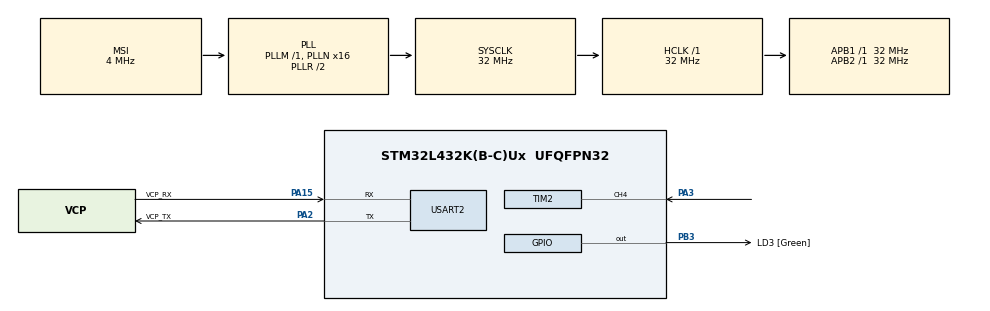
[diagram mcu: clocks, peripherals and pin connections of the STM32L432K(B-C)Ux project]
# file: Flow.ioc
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Mcu.Family=STM32L4
Mcu.Name=STM32L432K(B-C)Ux
Mcu.Package=UFQFPN32
NVIC.PriorityGroup=NVIC_PRIORITYGROUP_4
NVIC.TIM2_IRQn=true\:0\:0\:false\:false\:true\:true\:true\:true
PA13\ (JTMS-SWDIO).GPIO_Label=SWDIO
PA13\ (JTMS-SWDIO).Mode=Serial_Wire
PA13\ (JTMS-SWDIO).Signal=SYS_JTMS-SWDIO
PA14\ (JTCK-SWCLK).GPIO_Label=SWCLK
PA14\ (JTCK-SWCLK).Mode=Serial_Wire
PA14\ (JTCK-SWCLK).Signal=SYS_JTCK-SWCLK
PA15\ (JTDI).GPIO_Label=VCP_RX
PA15\ (JTDI).Mode=Asynchronous
PA15\ (JTDI).Signal=USART2_RX
PA2.GPIO_Label=VCP_TX
PA2.Mode=Asynchronous
PA2.Signal=USART2_TX
PA3.Signal=S_TIM2_CH4
PB3\ (JTDO-TRACESWO).GPIO_Label=LD3 [Green]
PB3\ (JTDO-TRACESWO).Signal=GPIO_Output
PC14-OSC32_IN\ (PC14).Mode=LSE-External-Oscillator
PC14-OSC32_IN\ (PC14).Signal=RCC_OSC32_IN
PC15-OSC32_OUT\ (PC15).Mode=LSE-External-Oscillator
PC15-OSC32_OUT\ (PC15).Signal=RCC_OSC32_OUT
ProjectManager.HeapSize=0x200
ProjectManager.StackSize=0x400
ProjectManager.TargetToolchain=STM32CubeIDE
RCC.AHBFreq_Value=32000000
RCC.APB1Freq_Value=32000000
RCC.APB1TimFreq_Value=32000000
RCC.APB2Freq_Value=32000000
RCC.APB2TimFreq_Value=32000000
RCC.CortexFreq_Value=32000000
RCC.HCLKFreq_Value=32000000
RCC.HSE_VALUE=8000000
RCC.HSI16_VALUE=16000000
RCC.HSI48_VALUE=48000000
RCC.HSI_VALUE=16000000
RCC.MSI_VALUE=4000000
RCC.PLLMUL=RCC_PLLMUL_4
RCC.PLLN=16
RCC.SYSCLKFreq_VALUE=32000000
RCC.SYSCLKSource=RCC_SYSCLKSOURCE_PLLCLK
RCC.VCOOutputFreq_Value=64000000
SH.S_TIM2_CH4.0=TIM2_CH4,Input_Capture4_from_TI4
TIM2.Channel-Input_Capture4_from_TI4=TIM_CHANNEL_4
TIM2.Prescaler=79
USART2.VirtualMode-Asynchronous=VM_ASYNC
VP_TIM2_VS_ClockSourceINT.Mode=Internal
board=NUCLEO-L432KC

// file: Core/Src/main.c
/* USER CODE BEGIN Header */

/**

 ******************************************************************************

 * @file : main.c

 * @brief : Main program body

 ******************************************************************************

 * @attention

 *

 * Copyright (c) 2026 STMicroelectronics.

 * All rights reserved.

 *

 * This software is licensed under terms that can be found in the LICENSE file

 * in the root directory of this software component.

 * If no LICENSE file comes with this software, it is provided AS-IS.

 *

 ******************************************************************************

 */

/* USER CODE END Header */
#include "main.h"

/* USER CODE BEGIN Includes */
#include <stdio.h>
#include "string.h"

/* USER CODE END Includes */

TIM_HandleTypeDef htim2;

UART_HandleTypeDef huart2;

/* USER CODE BEGIN PV */

volatile uint32_t pulse_count = 0;

uint32_t last_time = 0;

double flow_buffer[10] = {0};

uint8_t flow_index = 0;

uint8_t buffer_filled = 0;

uint8_t startup_msg_sent = 0;

/* USER CODE END PV */

void SystemClock_Config(void);
static void MX_GPIO_Init(void);
static void MX_USART2_UART_Init(void);
static void MX_TIM2_Init(void);
/* USER CODE BEGIN PFP */
void flow_sensor(uint32_t second_pulses);
/* USER CODE END PFP */

int main(void)
{

  /* MCU Configuration--------------------------------------------------------*/

  /* Reset of all peripherals, Initializes the Flash interface and the Systick. */
  HAL_Init();

  /* Configure the system clock */
  SystemClock_Config();

  /* Initialize all configured peripherals */
  MX_GPIO_Init();
  MX_USART2_UART_Init();
  MX_TIM2_Init();
  /* USER CODE BEGIN 2 */

 HAL_TIM_IC_Start_IT(&htim2, TIM_CHANNEL_4);

  /* USER CODE END 2 */

  /* Infinite loop */
  /* USER CODE BEGIN WHILE */

 while (1)
 {
	 uint32_t current_time = HAL_GetTick();

	     if (current_time - last_time >= 500)
	     {
	         last_time = current_time;

	         uint32_t second_pulses = pulse_count;
	         pulse_count = 0;

	         flow_sensor(second_pulses);
	     }
 }

    /* USER CODE END WHILE */

}

void SystemClock_Config(void)
{
  RCC_OscInitTypeDef RCC_OscInitStruct = {0};
  RCC_ClkInitTypeDef RCC_ClkInitStruct = {0};

  /** Configure the main internal regulator output voltage
  */
  if (HAL_PWREx_ControlVoltageScaling(PWR_REGULATOR_VOLTAGE_SCALE1) != HAL_OK)
  {
    Error_Handler();
  }

  /** Configure LSE Drive Capability
  */
  HAL_PWR_EnableBkUpAccess();
  __HAL_RCC_LSEDRIVE_CONFIG(RCC_LSEDRIVE_LOW);

  /** Initializes the RCC Oscillators according to the specified parameters
  * in the RCC_OscInitTypeDef structure.
  */
  RCC_OscInitStruct.OscillatorType = RCC_OSCILLATORTYPE_LSE|RCC_OSCILLATORTYPE_MSI;
  RCC_OscInitStruct.LSEState = RCC_LSE_ON;
  RCC_OscInitStruct.MSIState = RCC_MSI_ON;
  RCC_OscInitStruct.MSICalibrationValue = 0;
  RCC_OscInitStruct.MSIClockRange = RCC_MSIRANGE_6;
  RCC_OscInitStruct.PLL.PLLState = RCC_PLL_ON;
  RCC_OscInitStruct.PLL.PLLSource = RCC_PLLSOURCE_MSI;
  RCC_OscInitStruct.PLL.PLLM = 1;
  RCC_OscInitStruct.PLL.PLLN = 16;
  RCC_OscInitStruct.PLL.PLLP = RCC_PLLP_DIV7;
  RCC_OscInitStruct.PLL.PLLQ = RCC_PLLQ_DIV2;
  RCC_OscInitStruct.PLL.PLLR = RCC_PLLR_DIV2;
  if (HAL_RCC_OscConfig(&RCC_OscInitStruct) != HAL_OK)
  {
    Error_Handler();
  }

  /** Initializes the CPU, AHB and APB buses clocks
  */
  RCC_ClkInitStruct.ClockType = RCC_CLOCKTYPE_HCLK|RCC_CLOCKTYPE_SYSCLK
                              |RCC_CLOCKTYPE_PCLK1|RCC_CLOCKTYPE_PCLK2;
  RCC_ClkInitStruct.SYSCLKSource = RCC_SYSCLKSOURCE_PLLCLK;
  RCC_ClkInitStruct.AHBCLKDivider = RCC_SYSCLK_DIV1;
  RCC_ClkInitStruct.APB1CLKDivider = RCC_HCLK_DIV1;
  RCC_ClkInitStruct.APB2CLKDivider = RCC_HCLK_DIV1;

  if (HAL_RCC_ClockConfig(&RCC_ClkInitStruct, FLASH_LATENCY_1) != HAL_OK)
  {
    Error_Handler();
  }

  /** Enable MSI Auto calibration
  */
  HAL_RCCEx_EnableMSIPLLMode();
}

static void MX_TIM2_Init(void)
{

  TIM_ClockConfigTypeDef sClockSourceConfig = {0};
  TIM_MasterConfigTypeDef sMasterConfig = {0};
  TIM_IC_InitTypeDef sConfigIC = {0};

  htim2.Instance = TIM2;
  htim2.Init.Prescaler = 79;
  htim2.Init.CounterMode = TIM_COUNTERMODE_UP;
  htim2.Init.Period = 4294967295;
  htim2.Init.ClockDivision = TIM_CLOCKDIVISION_DIV1;
  htim2.Init.AutoReloadPreload = TIM_AUTORELOAD_PRELOAD_DISABLE;
  if (HAL_TIM_Base_Init(&htim2) != HAL_OK)
  {
    Error_Handler();
  }
  sClockSourceConfig.ClockSource = TIM_CLOCKSOURCE_INTERNAL;
  if (HAL_TIM_ConfigClockSource(&htim2, &sClockSourceConfig) != HAL_OK)
  {
    Error_Handler();
  }
  if (HAL_TIM_IC_Init(&htim2) != HAL_OK)
  {
    Error_Handler();
  }
  sMasterConfig.MasterOutputTrigger = TIM_TRGO_RESET;
  sMasterConfig.MasterSlaveMode = TIM_MASTERSLAVEMODE_DISABLE;
  if (HAL_TIMEx_MasterConfigSynchronization(&htim2, &sMasterConfig) != HAL_OK)
  {
    Error_Handler();
  }
  sConfigIC.ICPolarity = TIM_INPUTCHANNELPOLARITY_RISING;
  sConfigIC.ICSelection = TIM_ICSELECTION_DIRECTTI;
  sConfigIC.ICPrescaler = TIM_ICPSC_DIV1;
  sConfigIC.ICFilter = 0;
  if (HAL_TIM_IC_ConfigChannel(&htim2, &sConfigIC, TIM_CHANNEL_4) != HAL_OK)
  {
    Error_Handler();
  }

}

static void MX_USART2_UART_Init(void)
{

  huart2.Instance = USART2;
  huart2.Init.BaudRate = 115200;
  huart2.Init.WordLength = UART_WORDLENGTH_8B;
  huart2.Init.StopBits = UART_STOPBITS_1;
  huart2.Init.Parity = UART_PARITY_NONE;
  huart2.Init.Mode = UART_MODE_TX_RX;
  huart2.Init.HwFlowCtl = UART_HWCONTROL_NONE;
  huart2.Init.OverSampling = UART_OVERSAMPLING_16;
  huart2.Init.OneBitSampling = UART_ONE_BIT_SAMPLE_DISABLE;
  huart2.AdvancedInit.AdvFeatureInit = UART_ADVFEATURE_NO_INIT;
  if (HAL_UART_Init(&huart2) != HAL_OK)
  {
    Error_Handler();
  }

}

static void MX_GPIO_Init(void)
{
  GPIO_InitTypeDef GPIO_InitStruct = {0};

  /* GPIO Ports Clock Enable */
  __HAL_RCC_GPIOC_CLK_ENABLE();
  __HAL_RCC_GPIOA_CLK_ENABLE();
  __HAL_RCC_GPIOB_CLK_ENABLE();

  /*Configure GPIO pin Output Level */
  HAL_GPIO_WritePin(LD3_GPIO_Port, LD3_Pin, GPIO_PIN_RESET);

  /*Configure GPIO pin : LD3_Pin */
  GPIO_InitStruct.Pin = LD3_Pin;
  GPIO_InitStruct.Mode = GPIO_MODE_OUTPUT_PP;
  GPIO_InitStruct.Pull = GPIO_NOPULL;
  GPIO_InitStruct.Speed = GPIO_SPEED_FREQ_LOW;
  HAL_GPIO_Init(LD3_GPIO_Port, &GPIO_InitStruct);

}

/* USER CODE BEGIN 4 */

void HAL_TIM_IC_CaptureCallback(TIM_HandleTypeDef *htim)
{
    if (htim->Instance == TIM2 && htim->Channel == HAL_TIM_ACTIVE_CHANNEL_4)
    {
        pulse_count++;
        HAL_GPIO_TogglePin(LD3_GPIO_Port, LD3_Pin);
    }
}
void flow_sensor(uint32_t second_pulses)
{
    char msg[100];

    // Flow in L/min
    double flow_Lmin = (double)second_pulses * 60.0 / 5880.0;

    // convert to mL/min
    double flow_mLmin = flow_Lmin * 1000.0;

    // store in buffer
    flow_buffer[flow_index] = flow_mLmin;
    flow_index = (flow_index + 1) % 10;

    // track when buffer is filled
    if (buffer_filled < 10)
    {
        buffer_filled++;
    }

    if (buffer_filled < 10)
    {
        if (!startup_msg_sent)
        {
            snprintf(msg, sizeof(msg), "Please allow up to 10 seconds for the moving mean...\r\n");

            HAL_UART_Transmit(&huart2, (uint8_t*)msg, strlen(msg), 100);

            startup_msg_sent = 1;
        }
    }
    else
    {
        double sum = 0;

        for (int i = 0; i < 10; i++)
        {
            sum += flow_buffer[i];
        }

        double flow_avg = sum / 10.0;

        snprintf(msg, sizeof(msg),
                 "Flow AVG: %.2f mL/min | raw=%.2f | pulses=%lu\r\n", flow_avg, flow_mLmin,
                 second_pulses);

        HAL_UART_Transmit(&huart2,
                          (uint8_t*)msg,
                          strlen(msg),
                          100);
    }
}

/* USER CODE END 4 */

void Error_Handler(void)
{
 __disable_irq();
 while (1)
 {
 }
}
